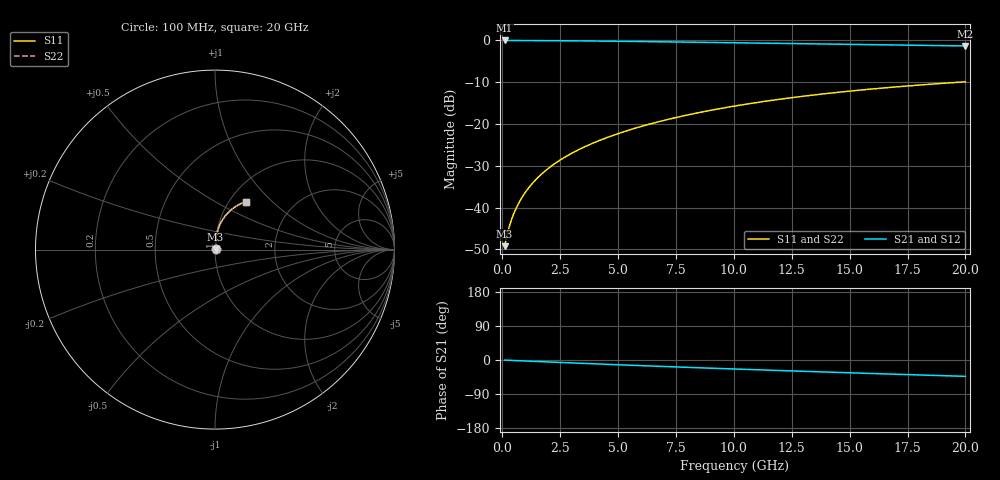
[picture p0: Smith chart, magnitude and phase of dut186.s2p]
! Touchstone file exported from HFSS 2024.1.0
!  File:  C:/UserFiles/LocalFiles/RDL_TSV_Batchsim/temp_RDL_top_186_1778686406.aedt
!  Generated:  11:35:31 PM May 13, 2026
!  Design:  RDL_top
!  Project:  temp_RDL_top_186_1778686406
!  Setup:  Setup1
!  Solution:  Sweep
! Variables:
!  dtsv = 10.80580581um
!  hbump = 3um
!  htsv = 70.01um
!  ldown = 100um
!  lrdl = 683.68um
!  p = 40
!  p1 = 40.9um
!  rhole = 1um
!  t = 450um
!  tdown = 3.915915916um
!  trdl = 3.88um
!  wdown = 15.38538539um
!  wrdl = 22.39um
# GHz S MA R 50.000000
! Terminal data exported
! Port[1] = Box2_T1
! Port[2] = Box2_T2
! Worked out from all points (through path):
!   200 points, 100 MHz to 20 GHz, reference 50 ohm
!   highest |S21| = -0.03 dB at 100 MHz (marker M1); lowest = -1.3 dB at 20 GHz (marker M2)
!   group delay of S21, straight-line fit = 5.94 ps
!   lowest |S11| = -49.2 dB at 100 MHz (marker M3), VSWR 1.01, Z = 50.3 + j0.175 ohm
!   |S11| at or under -10 dB: start of sweep to 19.77 GHz
!   |S22| runs from -49.2 to -9.9 dB; largest |S21 - S12| = 3.7e-15
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0.1  0.003459 30.2  0.997 -0.3  0.997 -0.3  0.003459 30.2
! Gamma 0 0 0 0
! Port Impedance 50 0 50 0
0.2  0.00463 46.5  0.9968 -0.5  0.9968 -0.5  0.00463 46.5
0.3  0.005922 55.1  0.9965 -0.8  0.9965 -0.8  0.005922 55.1
0.4  0.007222 60.6  0.9963 -1.1  0.9963 -1.1  0.007222 60.6
0.5  0.008527 64.6  0.9961 -1.3  0.9961 -1.3  0.008528 64.6
0.6  0.009847 67.7  0.9959 -1.6  0.9959 -1.6  0.009847 67.7
0.8  0.01254 72.1  0.9956 -2.1  0.9956 -2.1  0.01254 72.1
1  0.01529 75.1  0.9952 -2.6  0.9952 -2.6  0.01529 75.1
1.2  0.01809 77.3  0.9947 -3.1  0.9947 -3.1  0.01809 77.3
1.7  0.02525 80.6  0.9933 -4.4  0.9933 -4.4  0.02525 80.5
2.2  0.0326 82.3  0.9915 -5.7  0.9915 -5.7  0.0326 82.3
2.8  0.04163 83.5  0.9888 -7.2  0.9888 -7.2  0.04162 83.5
3.5  0.05245 84.1  0.9851 -9.0  0.9851 -9.0  0.05244 84.1
4.2  0.06358 84.2  0.9809 -10.7  0.9809 -10.7  0.06356 84.2
5  0.07666 83.9  0.9755 -12.6  0.9755 -12.6  0.07663 83.8
6.8  0.1072 82.1  0.962 -16.8  0.962 -16.8  0.1072 82.0
8.4  0.1352 79.7  0.9492 -20.3  0.9492 -20.3  0.1351 79.6
10.1  0.1651 76.6  0.9353 -23.9  0.9353 -23.9  0.165 76.6
11.7  0.1928 73.5  0.9223 -27.2  0.9223 -27.2  0.1926 73.5
13.4  0.2213 70.1  0.9086 -30.7  0.9086 -30.7  0.2212 70.1
16.7  0.2732 63.5  0.8824 -37.0  0.8824 -37.0  0.273 63.4
20  0.3193 57.0  0.857 -43.1  0.857 -43.1  0.319 57.0
